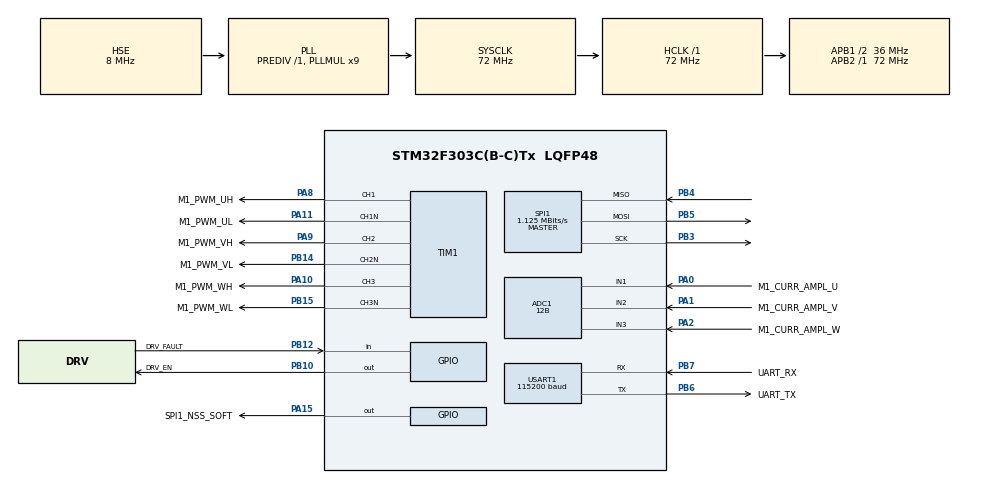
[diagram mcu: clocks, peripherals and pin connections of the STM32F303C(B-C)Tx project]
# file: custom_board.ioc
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MotorControl.BEMF_CONSISTENCY_TOL=64
MotorControl.R_BRAKE_SWITCH_OFF_THRES_V=24
MotorControl.PID_FLUX_KI_DEFAULT=3976
MotorControl.LOW_SIDE_BRAKE_STATE=false
ADC1.LowPowerAutoWait=DISABLE
MotorControl.PHASE_VL_GPIO_PORT=GPIOB
MotorControl.IPs=NVIC,RCC,SYS,MotorControl,TIM1,ADC1,USART1
MotorControl.OCP_OUTPUT_MODE=INT_MODE
ADC1.InjectedOffsetNumber-2\#ChannelInjectedConversion=ADC_OFFSET_NONE
MotorControl.PHASE_VH_POLARITY=H_ACTIVE_HIGH
PB10.GPIO_PuPd=GPIO_PULLUP
MotorControl.PHASE_WL_GPIO_PIN=LL_GPIO_PIN_15
PA10.GPIO_PuPd=GPIO_PULLDOWN
MotorControl.ENCODER_PPR=400
MotorControl.OV_VOLTAGE_PROT_ENABLING=false
MotorControl.OPEN_LOOP_SPEED_RAMP_DURATION_MS=1000
MotorControl.OCPB_OUTPUT_GPIO_PORT=GPIOB
MotorControl.ANGC={0,0,0,0,0,0,0,0}
MotorControl.SINGLEDRIVE=true
MotorControl.HFI_HP_ID_1_COEFF=-1.918761
MotorControl.USART_REMAPPING=NO_REMAP_USART1
MotorControl.EMERGENCY_STOP_GPIO_PORT=GPIOA
MotorControl.OCPC_OUTPUT_MODE=INT_MODE
MotorControl.OPEN_LOOP_VOLTAGE_d=6000
MotorControl.OCPB_OUTPUT_MODE=INT_MODE
MotorControl.OCPA_OUTPUT_MODE=INT_MODE
MotorControl.OCPC_INVERTINGINPUT_MODE=INT_MODE
MotorControl.HFI_LP_ID_1_COEFF=0.005502
MotorControl.OVP_FILTER=COMP_Mode_HighSpeed
MotorControl.DEFAULT_DAC_MOTOR=0
MotorControl.TF_KDDIV=8192
MotorControl.H3_GPIO_PORT=GPIOA
TIM1.Pulse-PWM\ Generation5\ No\ Output=(((PWM_PERIOD_CYCLES) / 2) + 1)
SPI1.Direction=SPI_DIRECTION_2LINES
RCC.APB2TimFreq_Value=72000000
MotorControl.HFI_DC_2_COEFF=0.00146
PB6.Signal=USART1_TX
SPI1.CalculateBaudRate=1.125 MBits/s
MotorControl.HFI_NOTCH_IQD_4_COEFF=-0.959018
MotorControl.OCP_NONINVERTINGINPUT_GPIO_PIN=LL_GPIO_PIN_7
MotorControl.FINAL_I_ALIGNMENT=1152
MotorControl.OVP_OUTPUT_GPIO_PIN=LL_GPIO_PIN_2
MotorControl.ENCODER_AVAILABLE=false
MotorControl.OPAMP1_INVERTINGINPUT_GPIO_PORT=GPIOA
MotorControl.HFI_RESTARTTIMESEC=0.1
MotorControl.HALL_ICx_FILTER=94
PB3.Mode=Full_Duplex_Master
ADC1.ScanConvMode=ADC_SCAN_ENABLE
MotorControl.ENC_MEAS_ERRORS_BEFORE_FAULTS=3
TIM1.LockLevel=TIM_LOCKLEVEL_1
MotorControl.HFI_WAITTRACK=20
ADC1.InjectedOffsetNumber-3\#ChannelInjectedConversion=ADC_OFFSET_NONE
PB12.GPIO_Label=DRV_FAULT
MotorControl.ADC_AHBPERIPH=RCC_AHBPeriph_ADC12
TIM1.Break2Polarity=TIM_BREAK2POLARITY_LOW
MotorControl.PID_TORQUE_KI_DEFAULT=3976
PB14.Mode=PWM Generation2 CH2 CH2N
MotorControl.H2_GPIO_PIN=LL_GPIO_PIN_1
TIM1.DeadTime=((DEAD_TIME_COUNTS) / 2)
MotorControl.DAC_TIMER_CH1_GPIO_PIN=LL_GPIO_PIN_0
SPI1.DataSize=SPI_DATASIZE_8BIT
TIM1.OCMode_PWM-PWM\ Generation1\ CH1\ CH1N=TIM_OCMODE_PWM1
MotorControl.AMPLIFICATION_GAIN=29.75
MotorControl.PWBDID=10013
PA8.Signal=S_TIM1_CH1
ADC1.InjectedConvMode=None
MotorControl.PWM_TIMER_REMAPPING=PWM_PARTIAL_REMAP
MotorControl.HFI_WAITSYNCH=20
PA0.Signal=ADC1_IN1
MotorControl.OCPB_SELECTION=COMP4
ExtraMW.MotorControl.Template=templates
MotorControl.CORD_MEAS_ERRORS_BEFORE_FAULTS=3
MotorControl.OV_TEMPERATURE_THRESHOLD_C=110
Mcu.Package=LQFP48
PB14.GPIO_PuPd=GPIO_PULLDOWN
ADC1.InjectedChannel-2\#ChannelInjectedConversion=ADC_CHANNEL_2
MotorControl.OCPB_INVERTINGINPUT_MODE=INT_MODE
ADC1.InjectedSamplingTime-3\#ChannelInjectedConversion=ADC_SAMPLETIME_7CYCLES_5
MotorControl.OPAMP2_NONINVERTINGINPUT_PHC_GPIO_PIN=LL_GPIO_PIN_0
TIM1.OCMode_PWM-PWM\ Generation3\ CH3\ CH3N=TIM_OCMODE_PWM1
PA10.Signal=S_TIM1_CH3
ADC1.InjectedChannel-3\#ChannelInjectedConversion=ADC_CHANNEL_3
MotorControl.HIGH_SIDE_BRAKE_STATE=false
MotorControl.DRIVES_NUMBER_SELECTION=SINGLEDRIVE
MotorControl.USART_SELECTION=USE_USART1
MotorControl.OPAMP2_SELECTION=OPAMP2
MotorControl.PHASE4_DURATION=2900
RCC.APB1TimFreq_Value=72000000
ADC1.InjectedOffsetNumber-1\#ChannelInjectedConversion=ADC_OFFSET_NONE
MotorControl.HFI_SPD_BUFFER_DEPTH_01HZ=64
MotorControl.USE_3OPAMPS=false
MotorControl.OPAMP_INVERTINGINPUT=OPAMP1_InvertingInput_PA3
ADC1.InjectedChannel-1\#ChannelInjectedConversion=ADC_CHANNEL_1
MotorControl.VARIANCE_THRESHOLD=0.1
MotorControl.SPD_DIFFERENTIAL_TERM_ENABLING=false
PA8.GPIO_Speed=GPIO_SPEED_FREQ_HIGH
ADC1.EOCSelection=ADC_EOC_SINGLE_CONV
MotorControl.PID_SPEED_KI_DEFAULT=288
MotorControl.SP_KIDIV=16384
PF1-OSC_OUT.Signal=RCC_OSC_OUT
MotorControl.OPAMP1_OUT_GPIO_PORT=GPIOA
MotorControl.HFI_NS_MIN_SAT_DIFF=0
MotorControl.HFI_IDH_DELAY=32400
MotorControl.PHASE_W_GPIO_PORT=GPIOA
MotorControl.BKIN_MODE=NONE
MotorControl.OVP_INVERTINGINPUT_GPIO_PORT=GPIOA
MotorControl.PHASE_CURRENTS_GPIO_PIN=LL_GPIO_PIN_3
TIM1.CounterMode=TIM_COUNTERMODE_CENTERALIGNED1
MotorControl.WB_to_Mx_version=1.2.2
PB6.GPIO_PuPd=GPIO_NOPULL
MotorControl.TEMP_FDBK_ADC=ADC1
MotorControl.OPEN_LOOP_SPEED_RPM=100
MotorControl.CORD_FIFO_DEPTH_01HZ=64
SPI1.CLKPhase=SPI_PHASE_2EDGE
MotorControl.REGULATION_EXECUTION_RATE=1
MotorControl.INRUSH_CURRLIMIT_CHANGE_AFTER_MS=1000
MotorControl.OPAMP2_NONINVERTINGINPUT_PHC_GPIO_PORT=GPIOB
MotorControl.BKIN2_FILTER=3
TIM1.AutoReloadPreload=TIM_AUTORELOAD_PRELOAD_DISABLE
MotorControl.HFI_DC_3_COEFF=1.889033
MotorControl.PHASE_CURRENTS_CHANNEL=ADC_CHANNEL_9
TIM1.Channel-PWM\ Generation2\ CH2\ CH2N=TIM_CHANNEL_2
PA8.GPIO_Label=M1_PWM_UH
MotorControl.HIGH_SIDE_IDLE_STATE=false
MotorControl.HFI_FREQUENCY=400
MotorControl.SP_KPDIV=4096
MotorControl.OCPA_INVERTINGINPUT_GPIO_PORT=GPIOA
MotorControl.OPAMP2_NONINVERTINGINPUT_PHB_GPIO_PORT=GPIOA
MotorControl.OVP_SELECTION=COMP2
MotorControl.CTRBDID=10013
MotorControl.PHASE_UH_GPIO_PIN=LL_GPIO_PIN_8
MotorControl.BKIN2_MODE=NONE
PB14.Signal=TIM1_CH2N
MotorControl.INRUSH_CURRLIMIT_GPIO_PIN=LL_GPIO_PIN_4
MotorControl.NOMINAL_BUS_VOLTAGE_V=16
NVIC.TIM1_BRK_TIM15_IRQn=true\:4\:1\:true\:true\:false\:1\:true\:true
MotorControl.HFI_NOTCH_IQD_0_COEFF=0.979509
MotorControl.OCPC_OUTPUT_GPIO_PIN=LL_GPIO_PIN_10
MotorControl.DEBUG_DAC_CH2=false
MotorControl.DEBUG_DAC_CH1=false
MotorControl.LCD_MODE=LCD_FULL
TIM1.TIM_MasterOutputTrigger=TIM_TRGO_OC4REF
MotorControl.OCPC_NONINVERTINGINPUT=COMP6_NonInvertingInput_PB11
MotorControl.SPEED_LOOP_FREQUENCY_HZ=2000
PB15.GPIO_Label=M1_PWM_WL
SPI1.Mode=SPI_MODE_MASTER
PA1.GPIO_Label=M1_CURR_AMPL_V
MotorControl.OPAMP_NONINVERTINGINPUT_GPIO_PIN=LL_GPIO_PIN_7
MotorControl.OCP_INVERTINGINPUT_GPIO_PORT=GPIOA
MotorControl.PHASE4_FINAL_SPEED_RPM=10000
TIM1.Channel-PWM\ Generation4\ No\ Output=TIM_CHANNEL_4
MotorControl.OCPC_INVERTINGINPUT_GPIO_PIN=LL_GPIO_PIN_4
MotorControl.OPAMP_OUT_GPIO_PORT=GPIOA
MotorControl.PHASE1_FINAL_SPEED_RPM=0
MotorControl.OCP_OUTPUTPOL=COMP_OutputPol_NonInverted
MotorControl.OCPB_OUTPUT=COMP_Output_TIM1BKIN2
MotorControl.HFI_NOTCH_IQD_3_COEFF=1.952148
MotorControl.HFI_AMPLITUDE=25
ADC1.master=1
MotorControl.START_STOP_POLARITY_EDGE=GPIO_NOPULL
PB5.GPIO_PuPd=GPIO_PULLUP
MotorControl.OCP_OUTPUT_GPIO_AF=GPIO_AF_8
MotorControl.OFST={0,0,0,0,0,0,0,0}
ProjectManager.HeapSize=0x200
MotorControl.START_STOP_BTN=false
NVIC.PriorityGroup=NVIC_PRIORITYGROUP_3
VP_MotorControl_MC_ENABLED.Mode=Enabled
MotorControl.SW_OV_CURRENT_PROT_ENABLING=false
MotorControl.OCPB_INVERTINGINPUT=COMPX_InvertingInput_VREF_1_2
MotorControl.UD_VOLTAGE_THRESHOLD_V=12
Mcu.Family=STM32F3
MotorControl.PHASE3_FINAL_CURRENT=708
MotorControl.PHASE2_FINAL_SPEED_RPM=0
MotorControl.USART_RX_GPIO_PORT=GPIOB
MotorControl.HFI_DC_1_COEFF=0.002921
PB10.PinState=GPIO_PIN_SET
MotorControl.EMERGENCY2_STOP_GPIO_PORT=GPIOA
MotorControl.EMERGENCY2_STOP_GPIO_PIN=LL_GPIO_PIN_11
MotorControl.OPAMP3_INVERTINGINPUT_GPIO_PIN=LL_GPIO_PIN_0
ADC1.Overrun=ADC_OVR_DATA_PRESERVED
MotorControl.OCPB_INVERTINGINPUT_GPIO_PORT=GPIOA
ADC1.ContinuousConvMode=DISABLE
MotorControl.OPEN_LOOP_VF=false
USART1.BaudRate=115200
MotorControl.RTOS=NONE
MotorControl.PHASE_V_GPIO_PIN=LL_GPIO_PIN_1
PA0.GPIO_Label=M1_CURR_AMPL_U
MotorControl.PHASE_VL_GPIO_PIN=LL_GPIO_PIN_14
PA11.Mode=PWM Generation1 CH1 CH1N
MotorControl.HW_OV_CURRENT_PROT_BYPASS=false
MotorControl.H2_GPIO_PORT=GPIOA
MotorControl.PHASE_WH_POLARITY=H_ACTIVE_HIGH
TIM1.Pulse-PWM\ Generation1\ CH1=((PWM_PERIOD_CYCLES) / 4)
MotorControl.OVP_NONINVERTINGINPUT=COMP2_NonInvertingInput_PA7
MotorControl.OVP_OUTPUT_GPIO_AF=GPIO_AF_8
PB15.Signal=TIM1_CH3N
MotorControl.DEFAULT_FLUX_COMPONENT=0
MotorControl.OCP_NONINVERTINGINPUT=COMP2_NonInvertingInput_PA7
MotorControl.OVERCURR_FEEDBACK_POLARITY=EMSTOP2_ACTIVE_LOW
MotorControl.LOW_SIDE_IDLE_STATE=false
MotorControl.OCPC_OUTPUT_GPIO_AF=GPIO_AF_8
MotorControl.MAX_APPLICATION_SPEED=42400
MotorControl.HFI_LP_ID_0_COEFF=0.002751
MotorControl.PHASE_UH_POLARITY=H_ACTIVE_HIGH
PA15.GPIO_Label=SPI1_NSS_SOFT
MotorControl.OCPC_SELECTION=COMP6
TIM1.Prescaler=((TIM_CLOCK_DIVIDER) - 1)
MotorControl.OCPC_OUTPUT_GPIO_PORT=GPIOA
MotorControl.VBUS_PARTITIONING_FACTOR=0.0963
MotorControl.OCPC_NONINVERTINGINPUT_GPIO_PORT=GPIOB
ADC1.Resolution=ADC_RESOLUTION_12B
MotorControl.OCPA_INVERTINGINPUT=COMPX_InvertingInput_VREF_1_2
RCC.HSE_VALUE=8000000
MotorControl.OPAMP2_INVERTINGINPUT_GPIO_PORT=GPIOA
RCC.PLLMUL=RCC_PLL_MUL9
MotorControl.FEED_FORWARD_CURRENT_REG_ENABLING=false
MotorControl.SPEED_FEEDBACK_CHECK=true
MotorControl.PID_SPEED_KD_DEFAULT=0
PB3.GPIO_PuPd=GPIO_PULLUP
MotorControl.HFI_LOCKFREQ=22
MotorControl.OCPA_SELECTION=COMP2
MotorControl.HFI_LP_ID_2_COEFF=0.002751
PB5.Mode=Full_Duplex_Master
MotorControl.OCPA_OUTPUT_GPIO_AF=GPIO_AF_8
MotorControl.OVP_OUTPUT_GPIO_PORT=GPIOA
PB7.Signal=USART1_RX
MotorControl.HALL_MEAS_ERRORS_BEFORE_FAULTS=3
MotorControl.FW_VOLTAGE_REF=985
MotorControl.PID_FLUX_KD_DEFAULT=100
MotorControl.HFI_PID_KP_DEFAULT=800
MotorControl.VBUS_CHANNEL=ADC_CHANNEL_5
MotorControl.SERIAL_COM_MODE=COM_BIDIRECTIONAL
PB7.GPIO_Label=UART_RX
MotorControl.OPAMP1_NONINVERTINGINPUT_PHB=OPAMP1_NonInvertingInput_PA7
MotorControl.PHASE_V_CURR_ADC=ADC1
MotorControl.OPAMP1_NONINVERTINGINPUT_PHA=OPAMP1_NonInvertingInput_PA1
MotorControl.PHASE_VH_GPIO_PIN=LL_GPIO_PIN_9
PB15.GPIO_PuPd=GPIO_PULLDOWN
TIM1.Pulse-PWM\ Generation2\ CH2=((PWM_PERIOD_CYCLES) / 4)
MotorControl.R_BRAKE_GPIO_PIN=LL_GPIO_PIN_5
MotorControl.OCPB_OUTPUT_GPIO_AF=GPIO_AF_8
MotorControl.HFI_NSDETPOINTSSKIP=10
PA15.Signal=GPIO_Output
MotorControl.OPAMP_NONINVERTINGINPUT=OPAMP1_NonInvertingInput_PA7
MotorControl.PLL_KI_GAIN=124
PA10.GPIO_Speed=GPIO_SPEED_FREQ_HIGH
MotorControl.POLE_PAIR_NUM=7
MotorControl.PHASE1_FINAL_CURRENT=0
MotorControl.OPAMP2_OUT_GPIO_PORT=GPIOA
MotorControl.SP_KDDIV=16
TIM1.BreakState=TIM_BREAK_DISABLE
MotorControl.PHASE_V_CURR_CHANNEL=ADC_CHANNEL_2
MotorControl.HFI_HIFRAMPLSCAN=25
MotorControl.HFI_MAXANGLEDIFF=3640
MotorControl.SW_DEADTIME_NS=350
MotorControl.FW_KPDIV=32768
MotorControl.OCPA_INVERTINGINPUT_MODE=INT_MODE
ADC1.InjectedSamplingTime-1\#ChannelInjectedConversion=ADC_SAMPLETIME_7CYCLES_5
PF1-OSC_OUT.Mode=HSE-External-Oscillator
MotorControl.CUBE_MX_VER=6.1.1
MotorControl.SPEED_BAND_LOWER_LIMIT=15
MotorControl.PWM_TIMER_SELECTION=PWM_TIM1
MotorControl.R_BRAKE_GPIO_PORT=GPIOD
PB4.Signal=SPI1_MISO
MotorControl.OVP_OUTPUT=COMP_Output_TIM1BKIN
MotorControl.OCP_NONINVERTINGINPUT_GPIO_PORT=GPIOA
MotorControl.CLOCK_FREQUENCY=CPU_CLK_72_MHZ
MotorControl.EXT_CLOCK_FREQUENCY=EXT_CLK_8_MHZ
MotorControl.PHASE_U_GPIO_PIN=LL_GPIO_PIN_0
TIM1.OCMode_PWM-PWM\ Generation4\ No\ Output=TIM_OCMODE_PWM2
MotorControl.HFI_MINIMUM_SPEED_RPM=402
TIM1.OffStateIDLEMode=TIM_OSSI_ENABLE
MotorControl.STO_FIFO_DEPTH_DPP=64
MotorControl.TRANSITION_DURATION=25
MotorControl.STO_FIFO_DEPTH_01HZ=64
MotorControl.OV_CURR_BYPASS_GPIO_PIN=LL_GPIO_PIN_5
MotorControl.CORD_VARIANCE_THRESHOLD=4
MotorControl.HFI_STEPANGLE=3640
MotorControl.OCP_OUTPUT_GPIO_PIN=LL_GPIO_PIN_2
MotorControl.HFI_LP_ID_4_COEFF=-0.857255
MotorControl.PHASE1_DURATION=0
MotorControl.ENC_ICx_FILTER=50
MotorControl.STO_HFI_RPM_TH=460
PA9.GPIO_PuPd=GPIO_PULLDOWN
MotorControl.PHASE_UL_GPIO_AF=GPIO_AF_6
MotorControl.GAIN1=-2714
MotorControl.GAIN2=9721
USART1.VirtualMode-Asynchronous=VM_ASYNC
PA13.Signal=SYS_JTMS-SWDIO
MotorControl.STM32F303xB=true
TIM1.Pulse-PWM\ Generation3\ CH3=((PWM_PERIOD_CYCLES) / 4)
SH.S_TIM1_CH1.0=TIM1_CH1,PWM Generation1 CH1 CH1N
MotorControl.PHASE5_FINAL_CURRENT=708
MotorControl.OCPA_NONINVERTINGINPUT=COMP2_NonInvertingInput_PA7
MotorControl.ENC_INVERT_SPEED=false
PB10.GPIO_Label=DRV_EN
MotorControl.DEFAULT_CONTROL_MODE=STC_SPEED_MODE
ADC1.EnableAnalogWatchDog3=false
ADC1.EnableAnalogWatchDog2=false
ADC1.EnableAnalogWatchDog1=false
RCC.USBFreq_Value=72000000
MotorControl.PLL_KP_GAIN=5263
PA1.Signal=ADC1_IN2
MotorControl.OBS_MINIMUM_SPEED_RPM=3000
MotorControl.HFI_NSMAXDETPOINTS=20
MotorControl.PHASE3_FINAL_SPEED_RPM=333
ExtraMW.MotorControl.Config=MotorControl
MotorControl.DAC_EMULATED=false
MotorControl.HFI_PLL_KI_DEFAULT=0.00400
MotorControl.OPAMP2_INVERTINGINPUT=OPAMP2_InvertingInput_PA5
board=custom
MotorControl.MIN_APPLICATION_SPEED=0
MotorControl.EMERGENCY_STOP_GPIO_PIN=LL_GPIO_PIN_11
MotorControl.PHASE_VH_GPIO_PORT=GPIOA
PB15.Mode=PWM Generation3 CH3 CH3N
VP_TIM1_VS_no_output4.Mode=PWM Generation4 No Output
PA15.PinState=GPIO_PIN_RESET
MotorControl.HFI_PID_KI_DEFAULT=400
MotorControl.OPAMP_NONINVERTINGINPUT_GPIO_PORT=GPIOA
MotorControl.TEMPERATURE_READING=false
MotorControl.ALIGNMENT_DURATION=700
MotorControl.THREE_SHUNT=true
MotorControl.OPAMP_PGAGAIN=OPAMP_OPAMP_PGAGain_2
TIM1.OffStateRunMode=TIM_OSSR_ENABLE
TIM1.BreakPolarity=TIM_BREAKPOLARITY_HIGH
MotorControl.BRKIN2_GPIO_AF=GPIO_AF_2
MotorControl.OVP_OUTPUT_MODE=INT_MODE
MotorControl.CCMRAM_ENABLED=false
RCC.SYSCLKFreq_VALUE=72000000
MotorControl.SPEED_SENSOR_SELECTION=STATE_OBSERVER_PLL
MotorControl.OCP_INVERTINGINPUT_MODE=INT_MODE
TIM1.Break2Filter=3
MotorControl.OPAMP2_INVERTINGINPUT_GPIO_PIN=LL_GPIO_PIN_5
MotorControl.HALL_TIMER_SELECTION=HALL_TIM2
PA15.GPIO_Speed=GPIO_SPEED_FREQ_HIGH
SH.S_TIM1_CH3.0=TIM1_CH3,PWM Generation3 CH3 CH3N
RCC.HSI_VALUE=8000000
PA8.GPIO_PuPd=GPIO_PULLDOWN
NVIC.TIM1_UP_TIM16_IRQn=true\:0\:0\:false\:true\:false\:2\:true\:true
MotorControl.PID_SPEED_KP_DEFAULT=2218
MotorControl.MCU_TYPE=STM32F303xB
MotorControl.OVP_INVERTINGINPUT=COMPX_InvertingInput_VREF
MotorControl.OPAMP_INVERTINGINPUT_GPIO_PIN=LL_GPIO_PIN_3
PA2.Mode=IN3-Single-Ended
PA9.GPIO_Speed=GPIO_SPEED_FREQ_HIGH
MotorControl.OPAMP3_INVERTINGINPUT=OPAMP1_InvertingInput_PA0
MotorControl.OPAMP1_INVERTINGINPUT_MODE=EXT_MODE
ADC1.DataAlign=ADC_DATAALIGN_LEFT
MotorControl.DAC_TIMER_SELECTION=TIM3
PB12.Signal=GPIO_Input
MotorControl.PHASE_VH_GPIO_AF=GPIO_AF_6
MotorControl.ID_DEMAG=-8861
MotorControl.H3_GPIO_PIN=LL_GPIO_PIN_2
PA11.GPIO_Speed=GPIO_SPEED_FREQ_HIGH
MotorControl.HFI_PLL_KP_DEFAULT=0.00060
NVIC.ADC1_2_IRQn=true\:2\:0\:true\:true\:false\:3\:true\:true
MotorControl.ENC_TIMER_REMAPPING=NO_REMAP_TIM2
MotorControl.H1_GPIO_PORT=GPIOA
TIM1.OCIdleState_1=TIM_OCIDLESTATE_RESET
TIM1.OCIdleState_2=TIM_OCIDLESTATE_RESET
SPI1.VirtualType=VM_MASTER
MotorControl.ADC_REFERENCE_VOLTAGE=3.30
TIM1.OCFastMode_PWM=TIM_OCFAST_DISABLE
TIM1.OCIdleState_5=TIM_OCIDLESTATE_RESET
TIM1.Break2State=TIM_BREAK2_DISABLE
TIM1.OCIdleState_6=TIM_OCIDLESTATE_RESET
TIM1.OCIdleState_3=TIM_OCIDLESTATE_RESET
TIM1.OCIdleState_4=TIM_OCIDLESTATE_RESET
PB14.GPIO_Label=M1_PWM_VL
USART1.WordLength=WORDLENGTH_8B
MotorControl.CORD_F1=2048
MotorControl.CORD_F2=16384
MotorControl.CORD_MAX_ACCEL_DPPP=30
MotorControl.HFI_RESTART_RPM_TH=(((HFI_STO_RPM_TH)+(STO_HFI_RPM_TH))/2)
MotorControl.SPEED_BAND_UPPER_LIMIT=17
PB6.GPIO_Label=UART_TX
MotorControl.CLOCK_SOURCE=EXTERNAL
MotorControl.OPAMP2_NONINVERTINGINPUT_PHB_GPIO_PIN=LL_GPIO_PIN_7
MotorControl.USART_SPEED=115200
MotorControl.OCPB_OUTPUT_GPIO_PIN=LL_GPIO_PIN_1
MotorControl.OPAMP1_NONINVERTINGINPUT_PHB_GPIO_PIN=LL_GPIO_PIN_7
ExtraMW.MotorControl.Mode=MotorControl
MotorControl.FLUX_WEAKENING_ENABLING=false
MotorControl.MTPA_ENABLING=false
MotorControl.BOARD=CUSTOM
TIM1.TIM_SlaveMode=TIM_SLAVEMODE_TRIGGER
MotorControl.OCP_FILTER=COMP_Mode_HighSpeed
MotorControl.FW_KIDIV=32768
PB7.GPIO_Mode=GPIO_MODE_AF_PP
MotorControl.PID_TORQUE_KP_DEFAULT=2130
MotorControl.PHASE5_DURATION=0
MotorControl.OV_CURR_BYPASS_GPIO_PORT=GPIOD
MotorControl.OCPC_NONINVERTINGINPUT_GPIO_PIN=LL_GPIO_PIN_11
MotorControl.ENC_A_GPIO_PORT=GPIOA
MotorControl.ADC_CLOCK_WB_FREQ=72
ADC1.InjNumberOfConversion=3
TIM1.AutomaticOutput=TIM_AUTOMATICOUTPUT_DISABLE
PB6.Mode=Asynchronous
ADC1.InjectedOffset-3\#ChannelInjectedConversion=0
MotorControl.NOMINAL_CURRENT=8861
MotorControl.PHASE_WH_GPIO_AF=GPIO_AF_6
MotorControl.OPAMP1_INVERTINGINPUT=OPAMP1_InvertingInput_PA3
MotorControl.INTERNAL_OVERVOLTAGEPROTECTION=false
RCC.TIM1Selection=RCC_TIM1CLK_PLLCLK
MotorControl.RS=0.07
MotorControl.PHASE_U_CURR_ADC=ADC1
MotorControl.SERIAL_COMMUNICATION=true
PA0.Mode=IN1-Single-Ended
MotorControl.OCPB_OUTPUTPOL=COMP_OutputPol_NonInverted
MotorControl.ENC_AVERAGING_FIFO_DEPTH=16
MotorControl.OPAMP_OUT_GPIO_PIN=LL_GPIO_PIN_2
MotorControl.PHASE_WH_GPIO_PIN=LL_GPIO_PIN_10
MotorControl.PHASE_VL_POLARITY=L_ACTIVE_HIGH
MotorControl.DEFAULT_TORQUE_COMPONENT=0
MotorControl.INTERNAL_OVERCURRENTPROTECTION=false
MotorControl.OCPA_NONINVERTINGINPUT_GPIO_PORT=GPIOA
MotorControl.OCPB_NONINVERTINGINPUT=COMP4_NonInvertingInput_PB0
ADC1.EnableInjectedConversion=ENABLE
MotorControl.OPAMP_TYPE_GAIN=EXTERNAL
MotorControl.CURR_SAMPLING_TIME=1
MotorControl.START_STOP_GPIO_PORT=GPIOC
MotorControl.CONSTANT1_Q=49961
MotorControl.ADC_CLOCK_WB_DIV=1
MotorControl.HFI_LP_ID_3_COEFF=1.846252
MotorControl.PHASE_UL_GPIO_PIN=LL_GPIO_PIN_11
MotorControl.TF_KPDIV=2048
MotorControl.CONSTANT1_D=49961
MotorControl.HFI_HP_ID_4_COEFF=-0.920412
MotorControl.HFI_DC_0_COEFF=0.00146
MotorControl.INRUSH_CURR_LIMITER_POLARITY=DOUT_ACTIVE_HIGH
MotorControl.INRUSH_CURRLIMIT_GPIO_PORT=GPIOD
TIM1.OCMode_PWM-PWM\ Generation2\ CH2\ CH2N=TIM_OCMODE_PWM1
TIM1.Period=((PWM_PERIOD_CYCLES) / 2)
ADC1.QueueInjectedContext=ENABLE
NVIC.USART1_IRQn=true\:3\:1\:true\:true\:false\:4\:true\:true
MotorControl.SHARED_SIGNAL_ENABLE=false
ExtraMW=MotorControl
MotorControl.HFI_HP_ID_3_COEFF=1.917111
MotorControl.OCPC_OUTPUT=COMP_Output_TIM1BKIN2
MotorControl.OPAMP1_INVERTINGINPUT_GPIO_PIN=LL_GPIO_PIN_3
MotorControl.ON_OVER_VOLTAGE=TURN_OFF_PWM
MotorControl.TNOISE_NS=50
MotorControl.FEEDBACK_NET_FILTERING=false
PB7.GPIO_PuPd=GPIO_NOPULL
MotorControl.ENABLE_SL_ALGO_FROM_PHASE=3
MotorControl.OVP_NONINVERTINGINPUT_GPIO_PIN=LL_GPIO_PIN_7
TIM1.OCPolarity_1=TIM_OCPOLARITY_HIGH
TIM1.OCPolarity_3=TIM_OCPOLARITY_HIGH
MotorControl.OPAMP1_OUT_GPIO_PIN=LL_GPIO_PIN_2
TIM1.OCPolarity_2=TIM_OCPOLARITY_HIGH
TIM1.OCPolarity_5=TIM_OCPOLARITY_HIGH
MotorControl.SEGDIV=0
TIM1.OCPolarity_4=TIM_OCPOLARITY_HIGH
MotorControl.EXT_CLK_8_MHZ=true
TIM1.OCPolarity_6=TIM_OCPOLARITY_HIGH
MotorControl.TEMP_FDBK_CHANNEL=ADC_CHANNEL_4
MotorControl.HFI_WAITAFTERNS2=4
PA9.GPIO_Label=M1_PWM_VH
MotorControl.PID_TORQUE_KD_DEFAULT=100
MotorControl.CORD_BEMF_CONSISTENCY_TOL=64
MotorControl.RSHUNT=0.00100
MotorControl.PHASE_CURRENTS_GPIO_PORT=GPIOC
MotorControl.TEMP_ADC_SAMPLING_TIME=19
PA11.GPIO_Label=M1_PWM_UL
MotorControl.OCP_INVERTINGINPUT=COMPX_InvertingInput_VREF_1_2
MotorControl.MOTOR_MAX_SPEED_RPM=42400
TIM1.Channel-PWM\ Generation1\ CH1\ CH1N=TIM_CHANNEL_1
RCC.APB1CLKDivider=RCC_HCLK_DIV2
MotorControl.HFI_DC_4_COEFF=-0.894874
MotorControl.OPAMP_INVERTINGINPUT_MODE=EXT_MODE
MotorControl.OPAMP2_OUT_GPIO_PIN=LL_GPIO_PIN_6
TIM1.BreakFilter=0
MotorControl.MCU=STM32F303CB
PB14.GPIO_Speed=GPIO_SPEED_FREQ_HIGH
MotorControl.PID_FLUX_KP_DEFAULT=2130
MotorControl.T_MAX=110
MotorControl.BEMF_CONSISTENCY_GAIN=64
PA9.Signal=S_TIM1_CH2
MotorControl.ADC_2_PERIPH=ADC2
VP_TIM1_VS_ClockSourceITR.Mode=TriggerSource_ITR1
TIM1.Channel-PWM\ Generation3\ CH3\ CH3N=TIM_CHANNEL_3
MotorControl.ENC_TIMER_SELECTION=ENC_TIM2
PB4.GPIO_PuPd=GPIO_PULLUP
MotorControl.CPU_CLK_72_MHZ=true
MotorControl.OCPA_OUTPUT=COMP_Output_TIM1BKIN2
MotorControl.OVP_OUTPUTPOL=COMP_OutputPol_NonInverted
PB10.Signal=GPIO_Output
RCC.TIM8Selection=RCC_TIM8CLK_PLLCLK
MotorControl.ALIGNMENT_ANGLE_DEG=90
MotorControl.OCP_COMP_THRESHOLD=0.50
MotorControl.HFI_SCANROTATIONSNO=3
PA1.Mode=IN2-Single-Ended
ADC1.InjectedRank-3\#ChannelInjectedConversion=3
MotorControl.OPAMP2_INVERTINGINPUT_MODE=EXT_MODE
MotorControl.CORD_BEMF_CONSISTENCY_GAIN=64
ExtraMW.MotorControl.Root=MCSDK_v5.4.5/MotorControl
ADC1.InjectedOffset-1\#ChannelInjectedConversion=0
MotorControl.OCP_SELECTION=COMP2
MotorControl.ADC_PERIPH=ADC1
MotorControl.OVP_INVERTINGINPUT_MODE=INT_MODE
ADC1.DMAContinuousRequests=DISABLE
MotorControl.TEMP_FDBK_GPIO_PIN=LL_GPIO_PIN_3
MotorControl.STATE_OBSERVER_PLL=true
MotorControl.PHASE2_DURATION=300
MotorControl.LDLQ_RATIO=1.000
MotorControl.HALL_SENSORS_PLACEMENT=DEGREES_120
MotorControl.TRISE_NS=100
PB5.Signal=SPI1_MOSI
MotorControl.IQMAX=8861
MotorControl.HALL_PHASE_SHIFT=300
PA11.Signal=TIM1_CH1N
MotorControl.HW_COMPLEMENTED_LOW_SIDE=false
MotorControl.ENC_A_GPIO_PIN=LL_GPIO_PIN_0
MotorControl.HFI_PID_KIDIV=32768
MotorControl.START_STOP_GPIO_PIN=LL_GPIO_PIN_13
MotorControl.OCP_OUTPUT_GPIO_PORT=GPIOA
MotorControl.MAX_MODULATION_INDEX=MAX_MODULATION_100_PER_CENT
MotorControl.HFI_NOTCH_IQD_2_COEFF=0.979509
MotorControl.PHASE_UL_GPIO_PORT=GPIOA
ADC1.EnableRegularConversion=DISABLE
ADC1.InjectedRank-1\#ChannelInjectedConversion=1
MotorControl.MC_WORKBENCH_VERSION=5.4.5.20506
MotorControl.HFI_NOTCH_IQD_1_COEFF=-1.952148
PF0-OSC_IN.Signal=RCC_OSC_IN
PB6.GPIO_Speed=GPIO_SPEED_FREQ_LOW
MotorControl.PHASE_CURRENTS_ADC=ADC1_2
MotorControl.OPAMP_PGACONNECT=OPAMP1_PGAConnect_PA3
MotorControl.OPAMP2_NONINVERTINGINPUT_PHA_GPIO_PORT=GPIOB
MotorControl.PHASE5_FINAL_SPEED_RPM=10000
MotorControl.OPAMP3_SELECTION=OPAMP1
RCC.CortexFreq_Value=72000000
MotorControl.PHASE_U_CURR_CHANNEL=ADC_CHANNEL_1
MotorControl.DISSIPATIVE_BRAKE_POLARITY=DOUT_ACTIVE_HIGH
MotorControl.HFI_REVERT_DIRECTION=true
PB10.GPIO_Speed=GPIO_SPEED_FREQ_HIGH
PB6.GPIO_Mode=GPIO_MODE_AF_PP
TIM1.RepetitionCounter=(REP_COUNTER)
MotorControl.ADC_1_PERIPH=ADC1
RCC.SYSCLKSourceVirtual=RCC_SYSCLKSOURCE_PLLCLK
MotorControl.OPEN_LOOP_FOC=false
MotorControl.PHASE_W_CURR_ADC=ADC1
MotorControl.TF_KIDIV=16384
PA11.GPIO_PuPd=GPIO_PULLDOWN
MotorControl.LCD_JOYSTICK_FUNCTIONALITY=false
MotorControl.USE_INTERNAL_OPAMP=false
MotorControl.WB_to_Mx_template_version=20-11-05
ProjectManager.StackSize=0x400
MotorControl.HFI_HP_ID_0_COEFF=0.959381
MotorControl.SERIAL_COM_MOTOR=0
MotorControl.V0_V=1.055
MotorControl.OCPC_INVERTINGINPUT=COMPX_InvertingInput_VREF_1_2
MotorControl.OCPA_INVERTINGINPUT_GPIO_PIN=LL_GPIO_PIN_4
SPI1.CLKPolarity=SPI_POLARITY_HIGH
MotorControl.DC_CURRENT_RS_MEAS=15.00
MotorControl.PHASE_WH_GPIO_PORT=GPIOA
MotorControl.PHASE_UH_GPIO_AF=GPIO_AF_6
MotorControl.TEMP_FDBK_GPIO_PORT=GPIOA
RCC.HCLKFreq_Value=72000000
MotorControl.HALL_AVERAGING_FIFO_DEPTH=6
MotorControl.VBUS_GPIO_PIN=LL_GPIO_PIN_13
MotorControl.BUS_VOLTAGE_READING=false
MotorControl.OCPC_OUTPUTPOL=COMP_OutputPol_NonInverted
RCC.AHBFreq_Value=72000000
MotorControl.TFDIFFERENTIAL_TERM_ENABLING=false
MotorControl.OPEN_LOOP_K=44
ADC1.ExternalTrigInjecConv=ADC_EXTERNALTRIGINJECCONV_T1_TRGO
MotorControl.PHASE_WL_GPIO_AF=GPIO_AF_4
MotorControl.OV_TEMPERATURE_PROT_ENABLING=false
MotorControl.DEFAULT_TARGET_SPEED_RPM=3000
MotorControl.OCPB_NONINVERTINGINPUT_GPIO_PORT=GPIOB
MotorControl.HFI_HP_ID_2_COEFF=0.959381
PB4.Mode=Full_Duplex_Master
MotorControl.PHASE_UL_POLARITY=L_ACTIVE_HIGH
MotorControl.T0_C=25
MotorControl.PHASE_VL_GPIO_AF=GPIO_AF_6
PA10.GPIO_Label=M1_PWM_WH
MotorControl.OCPB_INVERTINGINPUT_GPIO_PIN=LL_GPIO_PIN_4
MotorControl.OVP_NONINVERTINGINPUT_GPIO_PORT=GPIOA
MotorControl.DEFAULT_DAC_CHANNEL_2=MC_PROTOCOL_REG_I_B
MotorControl.PHASE_W_CURR_CHANNEL=ADC_CHANNEL_3
MotorControl.DEFAULT_DAC_CHANNEL_1=MC_PROTOCOL_REG_DAC_USER1
MotorControl.OPAMP2_NONINVERTINGINPUT_PHA=OPAMP2_NonInvertingInput_PB0
MotorControl.LOW_SIDE_SIGNALS_ENABLING=LS_PWM_TIMER
MotorControl.OPAMP2_NONINVERTINGINPUT_PHB=OPAMP2_NonInvertingInput_PA7
MotorControl.OPAMP2_NONINVERTINGINPUT_PHC=OPAMP2_NonInvertingInput_PB0
MotorControl.ENC_B_GPIO_PIN=LL_GPIO_PIN_1
MotorControl.FW_KI_GAIN=5000
MotorControl.HFI_WAITBEFORESN=6
MotorControl.OCPA_NONINVERTINGINPUT_GPIO_PIN=LL_GPIO_PIN_7
MotorControl.POSITION_CTRL_ENABLING=false
MotorControl.OCPA_OUTPUTPOL=COMP_OutputPol_NonInverted
MotorControl.PHASE4_FINAL_CURRENT=708
MotorControl.USART_TX_GPIO_PIN=LL_GPIO_PIN_6
MotorControl.OPAMP1_SELECTION=OPAMP1
MotorControl.BKIN1_FILTER=0
TIM1.Channel=TIM_CHANNEL_4
MotorControl.OV_TEMPERATURE_HYSTERESIS_C=10
PA2.GPIO_Label=M1_CURR_AMPL_W
MotorControl.HALL_SENSORS_AVAILABLE=false
MotorControl.H1_GPIO_PIN=LL_GPIO_PIN_0
MotorControl.OCP_OUTPUT=COMP_Output_TIM1BKIN2
MotorControl.OCP_INVERTINGINPUT_GPIO_PIN=LL_GPIO_PIN_4
MotorControl.INRUSH_CURRLIMIT_ENABLING=false
MotorControl.ENC_USE_CH3=false
MotorControl.HALL_MTPA=false
SPI1.BaudRatePrescaler=SPI_BAUDRATEPRESCALER_64
MotorControl.MAX_MODULATION_100_PER_CENT=true
MotorControl.OCPA_OUTPUT_GPIO_PIN=LL_GPIO_PIN_2
MotorControl.ENC_B_GPIO_PORT=GPIOA
TIM1.Pulse-PWM\ Generation6\ No\ Output=(((PWM_PERIOD_CYCLES) / 2) + 1)
ADC1.InjectedSamplingTime-2\#ChannelInjectedConversion=ADC_SAMPLETIME_7CYCLES_5
VP_TIM1_VS_ControllerModeTrigger.Mode=Trigger Mode
ADC1.ExternalTrigInjecConvEdge=ADC_EXTERNALTRIGINJECCONV_EDGE_RISING
MotorControl.OCPREF=11915
MotorControl.PHASE2_FINAL_CURRENT=590
PB7.GPIO_Speed=GPIO_SPEED_FREQ_LOW
MotorControl.HFI_STO_RPM_TH=OBS_MINIMUM_SPEED_RPM
RCC.PLLSourceVirtual=RCC_PLLSOURCE_HSE
MotorControl.OPAMP3_INVERTINGINPUT_GPIO_PORT=GPIOA
MotorControl.MOTOR_TYPE=PMSM
MotorControl.OV_VOLTAGE_THRESHOLD_V=30
MotorControl.PWM_FREQUENCY=30000
MotorControl.FW_KP_GAIN=3000
MotorControl.F1=2048
ADC1.DiscontinuousConvMode=DISABLE
MotorControl.F2=16384
MotorControl.OPAMP2_NONINVERTINGINPUT_PHA_GPIO_PIN=LL_GPIO_PIN_0
MotorControl.DAC_TIMER_CH1_GPIO_PORT=GPIOA
MotorControl.OPAMP1_NONINVERTINGINPUT_PHB_GPIO_PORT=GPIOA
MotorControl.PHASE_V_GPIO_PORT=GPIOA
MotorControl.PHASE_UH_GPIO_PORT=GPIOA
TIM1.ClockDivision=TIM_CLOCKDIVISION_DIV2
TIM1.ClearInputSource=TIM_CLEARINPUTSOURCE_NONE
MotorControl.CURRENT_READING_TOPOLOGY=THREE_SHUNT
MotorControl.INRUSH_CURRLIMIT_AT_POWER_ON=false
MotorControl.OCPC_INVERTINGINPUT_GPIO_PORT=GPIOA
MotorControl.HFI_PID_KPDIV=16384
MotorControl.UV_VOLTAGE_PROT_ENABLING=false
MotorControl.PHASE_U_GPIO_PORT=GPIOA
ProjectManager.TargetToolchain=STM32CubeIDE
MotorControl.DAC_TIMER_CH2_GPIO_PORT=GPIOA
MotorControl.PHASE_WL_POLARITY=L_ACTIVE_HIGH
MotorControl.NB_CONSECUTIVE_TESTS=50
MotorControl.OVPREF=23830
MotorControl.OVERCURR_PROTECTION_HW_DISABLING=DOUT_ACTIVE_HIGH
ADC1.InjectedOffset-2\#ChannelInjectedConversion=0
MotorControl.VBUS_GPIO_PORT=GPIOB
MotorControl.CONSTANT2_QD=5016
MotorControl.OCPB_NONINVERTINGINPUT_GPIO_PIN=LL_GPIO_PIN_0
MotorControl.USART_TX_GPIO_PORT=GPIOB
MotorControl.VBUS_ADC=ADC3
MotorControl.MEAS_ERRORS_BEFORE_FAULTS=3
RCC.LSE_VALUE=32768
MotorControl.OBS_MEAS_ERRORS_BEFORE_FAULTS=3
PF0-OSC_IN.Mode=HSE-External-Oscillator
MotorControl.MOTOR_VOLTAGE_CONSTANT=0.4
MotorControl.OPAMP_INVERTINGINPUT_GPIO_PORT=GPIOA
TIM1.OCNPolarity_1=TIM_OCNPOLARITY_HIGH
MotorControl.REGCONVADC=ADC3
TIM1.OCNIdleState_3=TIM_OCNIDLESTATE_RESET
TIM1.OCNIdleState_2=TIM_OCNIDLESTATE_RESET
TIM1.OCNIdleState_1=TIM_OCNIDLESTATE_RESET
TIM1.Pulse-PWM\ Generation4\ No\ Output=(((PWM_PERIOD_CYCLES) / 2) - (HTMIN))
MotorControl.CORD_GAIN1=-2714
MotorControl.CORD_GAIN2=9721
MotorControl.OVP_INVERTINGINPUT_GPIO_PIN=LL_GPIO_PIN_4
RCC.APB2Freq_Value=72000000
TIM1.OCNPolarity_3=TIM_OCNPOLARITY_HIGH
TIM1.OCNPolarity_2=TIM_OCNPOLARITY_HIGH
SH.S_TIM1_CH2.0=TIM1_CH2,PWM Generation2 CH2 CH2N
PB15.GPIO_Speed=GPIO_SPEED_FREQ_HIGH
MotorControl.DAC_FUNCTIONALITY=false
MotorControl.HALL_TIMER_REMAPPING=NO_REMAP_TIM2
MotorControl.PHASE3_DURATION=100
MotorControl.DAC_TIMER_CH2_GPIO_PIN=LL_GPIO_PIN_0
MotorControl.START_STOP_POLARITY=DIN_ACTIVE_LOW
MotorControl.HW_DEAD_TIME_NS=150
Mcu.Name=STM32F303C(B-C)Tx
PA2.Signal=ADC1_IN3
MotorControl.OPAMP1_NONINVERTINGINPUT_PHA_GPIO_PIN=LL_GPIO_PIN_1
MotorControl.OPAMP3_INVERTINGINPUT_MODE=EXT_MODE
MotorControl.PHASE_W_GPIO_PIN=LL_GPIO_PIN_2
PB3.Signal=SPI1_SCK
TIM1.TIM_MasterOutputTrigger2=TIM_TRGO2_RESET
MotorControl.VBUS_ADC_SAMPLING_TIME=19
MotorControl.OPAMP_SELECTION=OPAMP1
MotorControl.SERIAL_COM_CHANNEL1=MC_PROTOCOL_REG_I_A
MotorControl.SERIAL_COM_CHANNEL2=MC_PROTOCOL_REG_I_A
PB7.Mode=Asynchronous
MotorControl.USART_RX_GPIO_PIN=LL_GPIO_PIN_7
PA14.Signal=SYS_JTCK-SWCLK
MotorControl.HFI_DEBUG_MODE=false
MotorControl.OPAMP1_NONINVERTINGINPUT_PHA_GPIO_PORT=GPIOA
MotorControl.LS=0.000010
MotorControl.STARTING_ANGLE_DEG=90
PA15.GPIO_PuPd=GPIO_PULLUP
MotorControl.PHASE_WL_GPIO_PORT=GPIOB
MotorControl.BRKIN_GPIO_AF=GPIO_AF_12
MotorControl.OPEN_LOOP_OFF=4400
RCC.APB1Freq_Value=36000000
ADC1.ClockPrescaler=ADC_CLOCK_SYNC_PCLK_DIV1
MotorControl.CORD_FIFO_DEPTH_DPP=64
MotorControl.OCPA_OUTPUT_GPIO_PORT=GPIOA
TIM1.TIM_MasterSlaveMode=TIM_MASTERSLAVEMODE_DISABLE
ADC1.InjectedRank-2\#ChannelInjectedConversion=2
MotorControl.dV_dT=0.023

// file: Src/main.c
/* USER CODE BEGIN Header */
/**
  ******************************************************************************
  * @file           : main.c
  * @brief          : Main program body
  ******************************************************************************
  * @attention
  *
  * <h2><center>&copy; Copyright (c) 2021 STMicroelectronics.
  * All rights reserved.</center></h2>
  *
  * This software component is licensed by ST under Ultimate Liberty license
  * SLA0044, the "License"; You may not use this file except in compliance with
  * the License. You may obtain a copy of the License at:
  *                             www.st.com/SLA0044
  *
  ******************************************************************************
  */
/* USER CODE END Header */
#include "main.h"
#include "motorcontrol.h"

/* USER CODE BEGIN PTD */
/* TMC6100 REGISTER LIST */
#define TMC6100_GCONF          	0x00
#define TMC6100_GSTAT          	0x01
#define TMC6100_IOIN		   	0x04
#define TMC6100_OTP_PROG       	0x06
#define TMC6100_OTP_READ       	0x07
#define TMC6100_FACTORY_CONF   	0x08
#define TMC6100_SHORT_CONF     	0x09
#define TMC6100_DRV_CONF       	0x0A

/* TMC6100 WRITE BYTE */
#define TMC6100_WRITE_BYTE		0x80
/* USER CODE END PTD */

ADC_HandleTypeDef hadc1;

SPI_HandleTypeDef hspi1;

TIM_HandleTypeDef htim1;

UART_HandleTypeDef huart1;

/* USER CODE BEGIN PV */
/* Any data read from the TMC6100 driver chip will fill up the array.
 * While debugging, set breakpoints AFTER reading from a relevant register to view the data in this buffer.
 */
uint8_t SPIRxBuf [5];

/* Driver configuration */
/* First entry is MSB, last entry is LSB in SPI, when writing order is 0 to 3
 * Bit order is MSb___LSb */

// WORKING 6-LINE CONFIG
uint8_t GCONF_Write [4] = {0x00, 0x00, 0x00, 0x40}; // Bit 6 = normal operation is set
uint8_t SHORT_CONF_Write [4] = {0x63, 0x13, 0x0f, 0x0f}; // {0x60, 0x01, 0x05, 0x0A}
uint8_t DRV_CONF_Write [4] = {0x00, 0x0c, 0x00, 0x0f}; // {0x00, 0x0c, 0x00, 0x0f}
uint8_t GSTAT_Write [4] = {0xFF, 0xFF, 0xFF, 0xFF};

/* USER CODE END PV */

void SystemClock_Config(void);
static void MX_GPIO_Init(void);
static void MX_ADC1_Init(void);
static void MX_TIM1_Init(void);
static void MX_USART1_UART_Init(void);
static void MX_SPI1_Init(void);
static void MX_NVIC_Init(void);
/* USER CODE BEGIN PFP */
void SPIread (uint8_t address, uint8_t *rxBuf);
void SPIwrite (uint8_t address, uint8_t *data);
void configureDriver (void);
void resetDriver (void);
/* USER CODE END PFP */

int main(void)
{

  /* MCU Configuration--------------------------------------------------------*/

  /* Reset of all peripherals, Initializes the Flash interface and the Systick. */
  HAL_Init();

  /* Configure the system clock */
  SystemClock_Config();

  /* Initialize all configured peripherals */
  MX_GPIO_Init();
  MX_ADC1_Init();
  MX_TIM1_Init();
  MX_USART1_UART_Init();
  MX_MotorControl_Init();
  MX_SPI1_Init();

  /* Initialize interrupts */
  MX_NVIC_Init();
  /* USER CODE BEGIN 2 */
  /* Reset the driver */
  resetDriver ();

  SPIread (TMC6100_GCONF, SPIRxBuf);
  SPIread (TMC6100_SHORT_CONF, SPIRxBuf);
  SPIread (TMC6100_DRV_CONF, SPIRxBuf);
  /* Write driver configuration to its registers through SPI */
  configureDriver ();
  SPIread (TMC6100_IOIN, SPIRxBuf);
  /* DEBUG: read the registers after writing */
  SPIread (TMC6100_GCONF, SPIRxBuf);
  SPIread (TMC6100_SHORT_CONF, SPIRxBuf);
  SPIread (TMC6100_DRV_CONF, SPIRxBuf);
  /* USER CODE END 2 */

  /* Infinite loop */
  while (1)
  {

    /* USER CODE BEGIN 3 */
	  //SPIread (TMC6100_GSTAT, SPIRxBuf);
	  //if (HAL_GPIO_ReadPin (GPIOB, GPIO_PIN_10)) {
		  //resetDriver ();
	  //}
  }
  /* USER CODE END 3 */
}

void SystemClock_Config(void)
{
  RCC_OscInitTypeDef RCC_OscInitStruct = {0};
  RCC_ClkInitTypeDef RCC_ClkInitStruct = {0};
  RCC_PeriphCLKInitTypeDef PeriphClkInit = {0};

  /** Initializes the RCC Oscillators according to the specified parameters
  * in the RCC_OscInitTypeDef structure.
  */
  RCC_OscInitStruct.OscillatorType = RCC_OSCILLATORTYPE_HSE;
  RCC_OscInitStruct.HSEState = RCC_HSE_ON;
  RCC_OscInitStruct.HSEPredivValue = RCC_HSE_PREDIV_DIV1;
  RCC_OscInitStruct.HSIState = RCC_HSI_ON;
  RCC_OscInitStruct.PLL.PLLState = RCC_PLL_ON;
  RCC_OscInitStruct.PLL.PLLSource = RCC_PLLSOURCE_HSE;
  RCC_OscInitStruct.PLL.PLLMUL = RCC_PLL_MUL9;
  if (HAL_RCC_OscConfig(&RCC_OscInitStruct) != HAL_OK)
  {
    Error_Handler();
  }
  /** Initializes the CPU, AHB and APB buses clocks
  */
  RCC_ClkInitStruct.ClockType = RCC_CLOCKTYPE_HCLK|RCC_CLOCKTYPE_SYSCLK
                              |RCC_CLOCKTYPE_PCLK1|RCC_CLOCKTYPE_PCLK2;
  RCC_ClkInitStruct.SYSCLKSource = RCC_SYSCLKSOURCE_PLLCLK;
  RCC_ClkInitStruct.AHBCLKDivider = RCC_SYSCLK_DIV1;
  RCC_ClkInitStruct.APB1CLKDivider = RCC_HCLK_DIV2;
  RCC_ClkInitStruct.APB2CLKDivider = RCC_HCLK_DIV1;

  if (HAL_RCC_ClockConfig(&RCC_ClkInitStruct, FLASH_LATENCY_2) != HAL_OK)
  {
    Error_Handler();
  }
  PeriphClkInit.PeriphClockSelection = RCC_PERIPHCLK_USART1|RCC_PERIPHCLK_TIM1;
  PeriphClkInit.Usart1ClockSelection = RCC_USART1CLKSOURCE_PCLK2;
  PeriphClkInit.Tim1ClockSelection = RCC_TIM1CLK_PLLCLK;
  if (HAL_RCCEx_PeriphCLKConfig(&PeriphClkInit) != HAL_OK)
  {
    Error_Handler();
  }
}

/**
  * @brief NVIC Configuration.
  * @retval None
  */
static void MX_NVIC_Init(void)
{
  /* TIM1_BRK_TIM15_IRQn interrupt configuration */
  HAL_NVIC_SetPriority(TIM1_BRK_TIM15_IRQn, 4, 1);
  HAL_NVIC_EnableIRQ(TIM1_BRK_TIM15_IRQn);
  /* TIM1_UP_TIM16_IRQn interrupt configuration */
  HAL_NVIC_SetPriority(TIM1_UP_TIM16_IRQn, 0, 0);
  HAL_NVIC_EnableIRQ(TIM1_UP_TIM16_IRQn);
  /* ADC1_2_IRQn interrupt configuration */
  HAL_NVIC_SetPriority(ADC1_2_IRQn, 2, 0);
  HAL_NVIC_EnableIRQ(ADC1_2_IRQn);
  /* USART1_IRQn interrupt configuration */
  HAL_NVIC_SetPriority(USART1_IRQn, 3, 1);
  HAL_NVIC_EnableIRQ(USART1_IRQn);
}

static void MX_ADC1_Init(void)
{

  ADC_MultiModeTypeDef multimode = {0};
  ADC_InjectionConfTypeDef sConfigInjected = {0};

  /** Common config
  */
  hadc1.Instance = ADC1;
  hadc1.Init.ClockPrescaler = ADC_CLOCK_SYNC_PCLK_DIV1;
  hadc1.Init.Resolution = ADC_RESOLUTION_12B;
  hadc1.Init.ScanConvMode = ADC_SCAN_ENABLE;
  hadc1.Init.ContinuousConvMode = DISABLE;
  hadc1.Init.DiscontinuousConvMode = DISABLE;
  hadc1.Init.DataAlign = ADC_DATAALIGN_LEFT;
  hadc1.Init.NbrOfConversion = 1;
  hadc1.Init.DMAContinuousRequests = DISABLE;
  hadc1.Init.EOCSelection = ADC_EOC_SINGLE_CONV;
  hadc1.Init.LowPowerAutoWait = DISABLE;
  hadc1.Init.Overrun = ADC_OVR_DATA_PRESERVED;
  if (HAL_ADC_Init(&hadc1) != HAL_OK)
  {
    Error_Handler();
  }
  /** Configure the ADC multi-mode
  */
  multimode.Mode = ADC_MODE_INDEPENDENT;
  if (HAL_ADCEx_MultiModeConfigChannel(&hadc1, &multimode) != HAL_OK)
  {
    Error_Handler();
  }
  /** Configure Injected Channel
  */
  sConfigInjected.InjectedChannel = ADC_CHANNEL_1;
  sConfigInjected.InjectedRank = ADC_INJECTED_RANK_1;
  sConfigInjected.InjectedSingleDiff = ADC_SINGLE_ENDED;
  sConfigInjected.InjectedNbrOfConversion = 3;
  sConfigInjected.InjectedSamplingTime = ADC_SAMPLETIME_7CYCLES_5;
  sConfigInjected.ExternalTrigInjecConvEdge = ADC_EXTERNALTRIGINJECCONV_EDGE_RISING;
  sConfigInjected.ExternalTrigInjecConv = ADC_EXTERNALTRIGINJECCONV_T1_TRGO;
  sConfigInjected.AutoInjectedConv = DISABLE;
  sConfigInjected.InjectedDiscontinuousConvMode = DISABLE;
  sConfigInjected.QueueInjectedContext = ENABLE;
  sConfigInjected.InjectedOffset = 0;
  sConfigInjected.InjectedOffsetNumber = ADC_OFFSET_NONE;
  if (HAL_ADCEx_InjectedConfigChannel(&hadc1, &sConfigInjected) != HAL_OK)
  {
    Error_Handler();
  }
  /** Configure Injected Channel
  */
  sConfigInjected.InjectedChannel = ADC_CHANNEL_2;
  sConfigInjected.InjectedRank = ADC_INJECTED_RANK_2;
  if (HAL_ADCEx_InjectedConfigChannel(&hadc1, &sConfigInjected) != HAL_OK)
  {
    Error_Handler();
  }
  /** Configure Injected Channel
  */
  sConfigInjected.InjectedChannel = ADC_CHANNEL_3;
  sConfigInjected.InjectedRank = ADC_INJECTED_RANK_3;
  if (HAL_ADCEx_InjectedConfigChannel(&hadc1, &sConfigInjected) != HAL_OK)
  {
    Error_Handler();
  }

}

static void MX_SPI1_Init(void)
{

  /* SPI1 parameter configuration*/
  hspi1.Instance = SPI1;
  hspi1.Init.Mode = SPI_MODE_MASTER;
  hspi1.Init.Direction = SPI_DIRECTION_2LINES;
  hspi1.Init.DataSize = SPI_DATASIZE_8BIT;
  hspi1.Init.CLKPolarity = SPI_POLARITY_HIGH;
  hspi1.Init.CLKPhase = SPI_PHASE_2EDGE;
  hspi1.Init.NSS = SPI_NSS_SOFT;
  hspi1.Init.BaudRatePrescaler = SPI_BAUDRATEPRESCALER_64;
  hspi1.Init.FirstBit = SPI_FIRSTBIT_MSB;
  hspi1.Init.TIMode = SPI_TIMODE_DISABLE;
  hspi1.Init.CRCCalculation = SPI_CRCCALCULATION_DISABLE;
  hspi1.Init.CRCPolynomial = 7;
  hspi1.Init.CRCLength = SPI_CRC_LENGTH_DATASIZE;
  hspi1.Init.NSSPMode = SPI_NSS_PULSE_DISABLE;
  if (HAL_SPI_Init(&hspi1) != HAL_OK)
  {
    Error_Handler();
  }

}

static void MX_TIM1_Init(void)
{

  TIM_SlaveConfigTypeDef sSlaveConfig = {0};
  TIM_MasterConfigTypeDef sMasterConfig = {0};
  TIM_OC_InitTypeDef sConfigOC = {0};
  TIM_BreakDeadTimeConfigTypeDef sBreakDeadTimeConfig = {0};

  htim1.Instance = TIM1;
  htim1.Init.Prescaler = ((TIM_CLOCK_DIVIDER) - 1);
  htim1.Init.CounterMode = TIM_COUNTERMODE_CENTERALIGNED1;
  htim1.Init.Period = ((PWM_PERIOD_CYCLES) / 2);
  htim1.Init.ClockDivision = TIM_CLOCKDIVISION_DIV2;
  htim1.Init.RepetitionCounter = (REP_COUNTER);
  htim1.Init.AutoReloadPreload = TIM_AUTORELOAD_PRELOAD_DISABLE;
  if (HAL_TIM_Base_Init(&htim1) != HAL_OK)
  {
    Error_Handler();
  }
  if (HAL_TIM_PWM_Init(&htim1) != HAL_OK)
  {
    Error_Handler();
  }
  sSlaveConfig.SlaveMode = TIM_SLAVEMODE_TRIGGER;
  sSlaveConfig.InputTrigger = TIM_TS_ITR1;
  if (HAL_TIM_SlaveConfigSynchro(&htim1, &sSlaveConfig) != HAL_OK)
  {
    Error_Handler();
  }
  sMasterConfig.MasterOutputTrigger = TIM_TRGO_OC4REF;
  sMasterConfig.MasterOutputTrigger2 = TIM_TRGO2_RESET;
  sMasterConfig.MasterSlaveMode = TIM_MASTERSLAVEMODE_DISABLE;
  if (HAL_TIMEx_MasterConfigSynchronization(&htim1, &sMasterConfig) != HAL_OK)
  {
    Error_Handler();
  }
  sConfigOC.OCMode = TIM_OCMODE_PWM1;
  sConfigOC.Pulse = 0;
  sConfigOC.OCPolarity = TIM_OCPOLARITY_HIGH;
  sConfigOC.OCNPolarity = TIM_OCNPOLARITY_HIGH;
  sConfigOC.OCFastMode = TIM_OCFAST_DISABLE;
  sConfigOC.OCIdleState = TIM_OCIDLESTATE_RESET;
  sConfigOC.OCNIdleState = TIM_OCNIDLESTATE_RESET;
  if (HAL_TIM_PWM_ConfigChannel(&htim1, &sConfigOC, TIM_CHANNEL_1) != HAL_OK)
  {
    Error_Handler();
  }
  if (HAL_TIM_PWM_ConfigChannel(&htim1, &sConfigOC, TIM_CHANNEL_2) != HAL_OK)
  {
    Error_Handler();
  }
  if (HAL_TIM_PWM_ConfigChannel(&htim1, &sConfigOC, TIM_CHANNEL_3) != HAL_OK)
  {
    Error_Handler();
  }
  sConfigOC.OCMode = TIM_OCMODE_PWM2;
  sConfigOC.Pulse = (((PWM_PERIOD_CYCLES) / 2) - (HTMIN));
  if (HAL_TIM_PWM_ConfigChannel(&htim1, &sConfigOC, TIM_CHANNEL_4) != HAL_OK)
  {
    Error_Handler();
  }
  sBreakDeadTimeConfig.OffStateRunMode = TIM_OSSR_ENABLE;
  sBreakDeadTimeConfig.OffStateIDLEMode = TIM_OSSI_ENABLE;
  sBreakDeadTimeConfig.LockLevel = TIM_LOCKLEVEL_1;
  sBreakDeadTimeConfig.DeadTime = ((DEAD_TIME_COUNTS) / 2);
  sBreakDeadTimeConfig.BreakState = TIM_BREAK_DISABLE;
  sBreakDeadTimeConfig.BreakPolarity = TIM_BREAKPOLARITY_HIGH;
  sBreakDeadTimeConfig.BreakFilter = 0;
  sBreakDeadTimeConfig.Break2State = TIM_BREAK2_DISABLE;
  sBreakDeadTimeConfig.Break2Polarity = TIM_BREAK2POLARITY_LOW;
  sBreakDeadTimeConfig.Break2Filter = 3;
  sBreakDeadTimeConfig.AutomaticOutput = TIM_AUTOMATICOUTPUT_DISABLE;
  if (HAL_TIMEx_ConfigBreakDeadTime(&htim1, &sBreakDeadTimeConfig) != HAL_OK)
  {
    Error_Handler();
  }
  HAL_TIM_MspPostInit(&htim1);

}

static void MX_USART1_UART_Init(void)
{

  huart1.Instance = USART1;
  huart1.Init.BaudRate = 115200;
  huart1.Init.WordLength = UART_WORDLENGTH_8B;
  huart1.Init.StopBits = UART_STOPBITS_1;
  huart1.Init.Parity = UART_PARITY_NONE;
  huart1.Init.Mode = UART_MODE_TX_RX;
  huart1.Init.HwFlowCtl = UART_HWCONTROL_NONE;
  huart1.Init.OverSampling = UART_OVERSAMPLING_16;
  huart1.Init.OneBitSampling = UART_ONE_BIT_SAMPLE_DISABLE;
  huart1.AdvancedInit.AdvFeatureInit = UART_ADVFEATURE_NO_INIT;
  if (HAL_UART_Init(&huart1) != HAL_OK)
  {
    Error_Handler();
  }

}

static void MX_GPIO_Init(void)
{
  GPIO_InitTypeDef GPIO_InitStruct = {0};

  /* GPIO Ports Clock Enable */
  __HAL_RCC_GPIOF_CLK_ENABLE();
  __HAL_RCC_GPIOA_CLK_ENABLE();
  __HAL_RCC_GPIOB_CLK_ENABLE();

  /*Configure GPIO pin Output Level */
  HAL_GPIO_WritePin(DRV_EN_GPIO_Port, DRV_EN_Pin, GPIO_PIN_SET);

  /*Configure GPIO pin Output Level */
  HAL_GPIO_WritePin(SPI1_NSS_SOFT_GPIO_Port, SPI1_NSS_SOFT_Pin, GPIO_PIN_RESET);

  /*Configure GPIO pin : DRV_EN_Pin */
  GPIO_InitStruct.Pin = DRV_EN_Pin;
  GPIO_InitStruct.Mode = GPIO_MODE_OUTPUT_PP;
  GPIO_InitStruct.Pull = GPIO_PULLUP;
  GPIO_InitStruct.Speed = GPIO_SPEED_FREQ_HIGH;
  HAL_GPIO_Init(DRV_EN_GPIO_Port, &GPIO_InitStruct);

  /*Configure GPIO pin : DRV_FAULT_Pin */
  GPIO_InitStruct.Pin = DRV_FAULT_Pin;
  GPIO_InitStruct.Mode = GPIO_MODE_INPUT;
  GPIO_InitStruct.Pull = GPIO_NOPULL;
  HAL_GPIO_Init(DRV_FAULT_GPIO_Port, &GPIO_InitStruct);

  /*Configure GPIO pin : SPI1_NSS_SOFT_Pin */
  GPIO_InitStruct.Pin = SPI1_NSS_SOFT_Pin;
  GPIO_InitStruct.Mode = GPIO_MODE_OUTPUT_PP;
  GPIO_InitStruct.Pull = GPIO_PULLUP;
  GPIO_InitStruct.Speed = GPIO_SPEED_FREQ_HIGH;
  HAL_GPIO_Init(SPI1_NSS_SOFT_GPIO_Port, &GPIO_InitStruct);

}

/* USER CODE BEGIN 4 */
void SPIread (uint8_t address, uint8_t *inputBuffer) {
	uint8_t outputBuffer [5] = {address, 0x00, 0x00, 0x00, 0x00};
	/* READ */
	/* Pull NSS LOW before beginning the transaction*/
	HAL_GPIO_WritePin(GPIOA, GPIO_PIN_4, GPIO_PIN_RESET);
	/* Transaction */
	HAL_SPI_TransmitReceive(&hspi1, outputBuffer, inputBuffer, 5, 1);
	/* Transaction is over; pull NSS HIGH once again */
	HAL_GPIO_WritePin(GPIOA, GPIO_PIN_4, GPIO_PIN_SET);
}

void SPIwrite (uint8_t address, uint8_t *data) {
	uint8_t outputBuffer [5] = {address + TMC6100_WRITE_BYTE, data [0], data [1], data [2], data [3]};
	uint8_t inputBuffer [5];
	/* READ */
	/* Pull NSS LOW before beginning the transaction*/
	HAL_GPIO_WritePin(GPIOA, GPIO_PIN_4, GPIO_PIN_RESET);
	/* Transaction */
	HAL_SPI_TransmitReceive(&hspi1, outputBuffer, inputBuffer, 5, 1);
	/* Transaction is over; pull NSS HIGH once again */
	HAL_GPIO_WritePin(GPIOA, GPIO_PIN_4, GPIO_PIN_SET);
}

void configureDriver (void) {
	SPIwrite (TMC6100_GCONF, GCONF_Write);
	SPIwrite (TMC6100_SHORT_CONF, SHORT_CONF_Write);
	SPIwrite (TMC6100_DRV_CONF, DRV_CONF_Write);
}

void resetDriver (void) {
	HAL_GPIO_WritePin(GPIOB, GPIO_PIN_6, GPIO_PIN_RESET);
	HAL_Delay (50);
	HAL_GPIO_WritePin(GPIOB, GPIO_PIN_6, GPIO_PIN_SET);
}
/* USER CODE END 4 */

void Error_Handler(void)
{
  __disable_irq();
  while (1)
  {
  }
}

/************************ (C) COPYRIGHT STMicroelectronics *****END OF FILE****/
